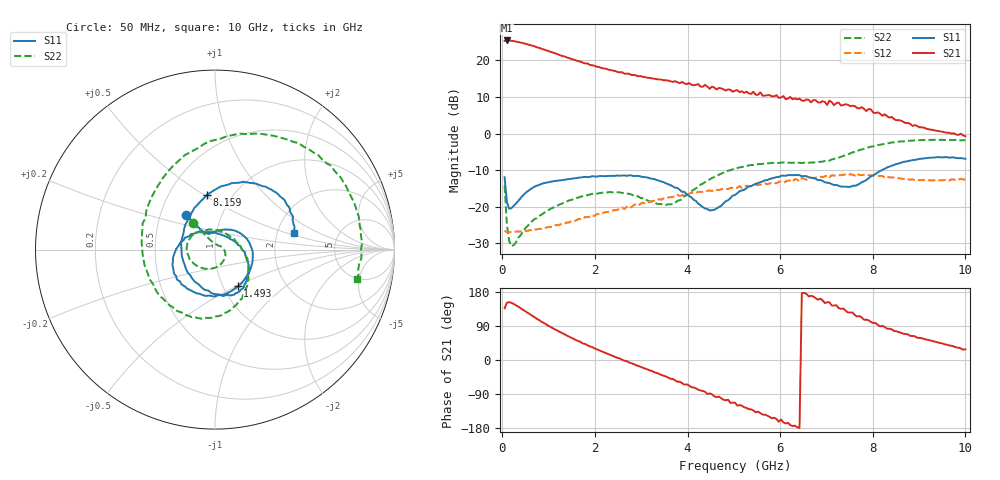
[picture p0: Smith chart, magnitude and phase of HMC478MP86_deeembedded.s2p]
!Hittite Microwave Corporation
!20 Alpha Road
!Chelmsford, MA 01824
!Tel: 978-250-3343
!Fax: 978-250-3373
!Device: HMC478MP86, DC-4 GHz, SiGe HBT Gain Block MMIC Amplifier in Micro-P Package.
!Misc: +5V, Room
# MHZ S MA R 50
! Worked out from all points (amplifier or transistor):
!   201 points, 50 MHz to 10 GHz, reference 50 ohm
!   highest |S21| = 25.4 dB at 99.75 MHz (marker M1)
!   |S21| within 3 dB of that: start of sweep to 1.016 GHz
!   unconditionally stable (mu >= 1): start of sweep to 2.532 GHz; 3.394 GHz to 5.237 GHz; 5.32 GHz to 5.375 GHz (the widest 3 of 9)
!   at 1.692 GHz: K = 1.04, MAG = 20.3 dB, |S12| = -23.3 dB
!   at 5.025 GHz: K = 1.01, MAG = 12.6 dB, |S12| = -14.9 dB
!   at 10 GHz: K = 0.98, MSG = 5.9 dB, |S12| = -12.6 dB
!   S11 on the Smith chart (normalised r, x): 50 MHz: 0.68, +0.28; 1.493 GHz: 1.17, -0.51; 8.159 GHz: 0.76, +0.52; 10 GHz: 2.49, +0.56
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50  0.253 129.5  18.36 136.4  0.047 -40.0  0.194 129.9
99.75  0.115 123.8  18.61 151.3  0.045 -18.9  0.056 114.9
149.5  0.094 111.7  18.6 152.6  0.045 -11.9  0.034 92.8
298.75  0.111 76.8  17.98 144.2  0.046 -4.4  0.033 38.6
497.75  0.154 43.1  16.78 128.5  0.047 -1.4  0.051 -2.2
696.75  0.188 17.9  15.47 112.7  0.049 0.8  0.068 -32.3
846  0.205 1.6  14.36 101.1  0.05 1.6  0.078 -53.4
1094.75  0.222 -23.0  12.71 83.6  0.054 1.6  0.097 -83.7
1492.75  0.241 -58.2  10.41 58.4  0.064 0.1  0.124 -123.7
1741.5  0.254 -76.6  9.243 43.5  0.068 -3.3  0.14 -144.0
2089.75  0.262 -100.5  8.081 25.8  0.08 -9.8  0.153 -168.9
2587.25  0.267 -131.9  6.854 0.7  0.098 -19.5  0.155 159.3
3383.25  0.227 -174.7  5.46 -36.6  0.127 -38.7  0.109 89.8
4229  0.111 119.3  4.722 -78.4  0.16 -63.9  0.187 -18.7
5025  0.145 5.5  3.846 -112.5  0.18 -90.8  0.33 -68.8
5572.25  0.217 -30.2  3.642 -140.2  0.201 -108.1  0.383 -96.3
5970.25  0.255 -50.3  3.068 -162.9  0.219 -120.5  0.396 -117.4
6716.5  0.247 -91.6  2.864 167.6  0.245 -147.5  0.402 -171.5
7462.75  0.187 -175.5  2.474 125.3  0.27 -178.9  0.522 116.5
8159.25  0.309 98.3  1.858 88.9  0.264 152.5  0.704 65.2
8358.25  0.353 84.8  1.645 82.5  0.251 143.6  0.741 54.3
10000  0.451 11.5  0.917 28.1  0.234 99.9  0.806 -11.6
